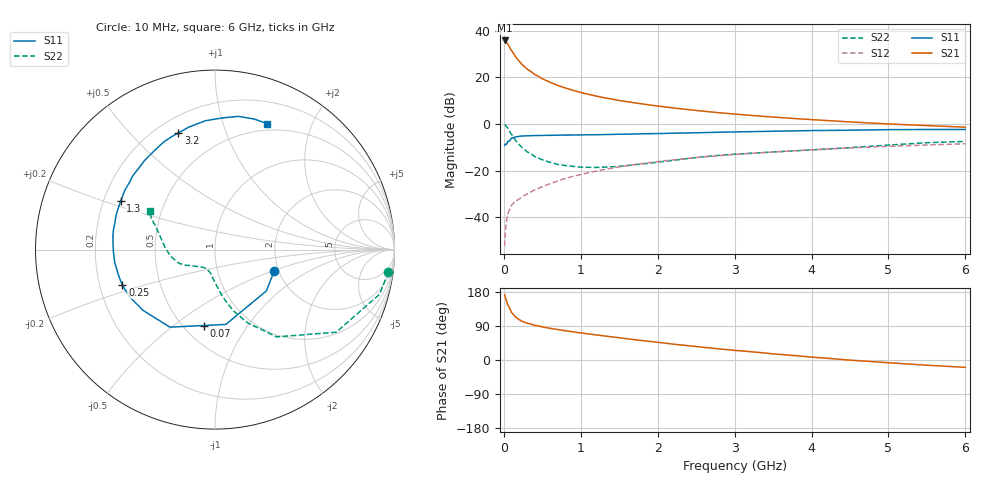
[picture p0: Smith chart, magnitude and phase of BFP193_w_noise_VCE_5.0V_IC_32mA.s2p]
! Infineon Technologies  Discrete & RF Semiconductors
! BFP193
! VCE =  5.0 V,  IC =  32 mA
! Common Emitter S-Parameters:  Jan 2017
# GHz  S  MA  R  50
!  f  S11  S21  S12  S22
! GHz  MAG  ANG  MAG  ANG  MAG  ANG  MAG  ANG
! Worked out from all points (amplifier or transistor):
!   77 points, 10 MHz to 6 GHz, reference 50 ohm
!   highest |S21| = 35.8 dB at 10 MHz (marker M1)
!   |S21| within 3 dB of that: start of sweep to 76.22 MHz
!   unconditionally stable (mu >= 1): 715 MHz to 2.493 GHz
!   at 130 MHz: K = 0.50, MSG = 31.9 dB, |S12| = -33.9 dB
!   at 2.2 GHz: K = 1.01, MAG = 10.5 dB, |S12| = -15.4 dB
!   at 6 GHz: K = 0.92, MSG = 3.6 dB, |S12| = -8.5 dB
!   lowest NFmin = 1.24 dB at 450 MHz
!   S11 on the Smith chart (normalised r, x): 10 MHz: 1.89, -0.51; 70 MHz: 0.62, -0.65; 250 MHz: 0.30, -0.17; 1.3 GHz: 0.27, +0.23; 3.2 GHz: 0.29, +0.69; 6 GHz: 0.42, +1.41
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0.01  0.3504 -19.8  61.36 172.0  0.0024 85.2  0.9741 -7.4
0.02  0.3675 -38.8  60.55 164.7  0.0051 81.9  0.95 -15.2
0.05  0.4211 -81.7  51.56 145.5  0.0116 67.1  0.817 -34.3
0.07  0.4277 -98.6  45.25 138.9  0.0141 62.4  0.7184 -40.9
0.1  0.5 -120.2  37.38 125.1  0.018 57.8  0.5958 -54.7
0.15  0.5248 -139.8  27.8 113.6  0.0219 54.7  0.4483 -65.9
0.2  0.5433 -150.9  21.88 106.4  0.0247 55.8  0.3579 -73.1
0.25  0.5528 -158.9  17.9 101.0  0.0282 57.0  0.2974 -77.8
0.3  0.5556 -164.3  15.11 97.4  0.0312 58.2  0.2547 -81.8
0.4  0.5628 -172.4  11.54 91.6  0.0383 61.7  0.2014 -87.3
0.5  0.5662 -178.5  9.284 87.3  0.0451 63.2  0.1704 -92.2
0.6  0.5691 176.8  7.794 83.6  0.0524 63.7  0.1501 -96.6
0.7  0.5733 172.8  6.696 80.4  0.0599 64.7  0.1354 -100.2
0.9  0.5767 165.5  5.223 74.3  0.0753 64.7  0.123 -107.8
1.1  0.585 159.0  4.306 68.9  0.0902 63.9  0.1175 -114.5
1.3  0.5904 152.8  3.657 63.7  0.1046 62.4  0.1184 -121.3
2.1  0.6262 130.9  2.305 44.4  0.1627 53.8  0.1584 -145.3
3.1  0.6771 109.3  1.575 23.8  0.2265 41.8  0.2293 -164.7
3.2  0.6813 107.4  1.529 22.0  0.2323 40.6  0.2343 -166.6
4.1  0.7218 92.8  1.207 6.1  0.2831 30.3  0.2833 175.7
5.1  0.7539 78.8  0.981 -8.5  0.3347 18.8  0.3601 157.9
6  0.76 67.5  0.851 -19.5  0.3756 8.8  0.4218 149.5
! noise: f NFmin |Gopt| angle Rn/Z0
0.45  1.24  0.35  -173  0.08
0.9  1.3  0.39  -171  0.07
1.9  1.92  0.58  -136  0.17
2.4  2.25  0.62  -121  0.38
